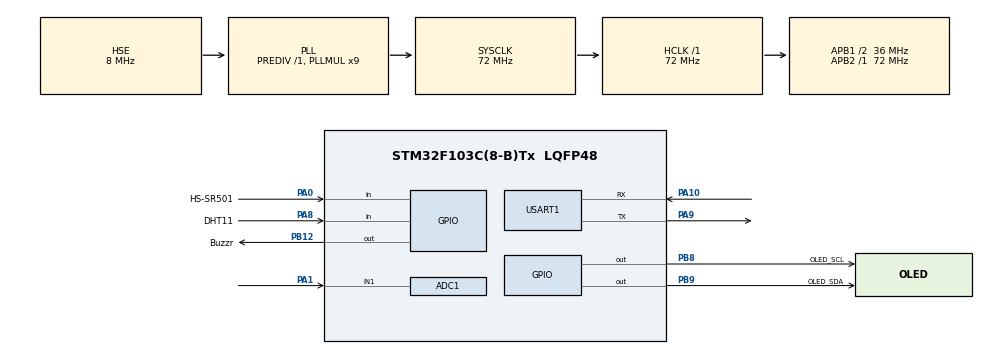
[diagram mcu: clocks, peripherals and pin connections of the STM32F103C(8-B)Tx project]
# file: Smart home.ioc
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ADC1.Channel-2\#ChannelRegularConversion=ADC_CHANNEL_1
ADC1.NbrOfConversionFlag=1
ADC1.Rank-2\#ChannelRegularConversion=1
ADC1.SamplingTime-2\#ChannelRegularConversion=ADC_SAMPLETIME_1CYCLE_5
ADC1.master=1
Mcu.Family=STM32F1
Mcu.Name=STM32F103C(8-B)Tx
Mcu.Package=LQFP48
NVIC.PriorityGroup=NVIC_PRIORITYGROUP_4
PA0-WKUP.GPIO_Label=HS-SR501
PA0-WKUP.GPIO_PuPd=GPIO_PULLDOWN
PA0-WKUP.Signal=GPIO_Input
PA1.Signal=ADCx_IN1
PA10.Mode=Asynchronous
PA10.Signal=USART1_RX
PA13.Mode=Serial_Wire
PA13.Signal=SYS_JTMS-SWDIO
PA14.Mode=Serial_Wire
PA14.Signal=SYS_JTCK-SWCLK
PA8.GPIO_Label=DHT11
PA8.Signal=GPIO_Input
PA9.Mode=Asynchronous
PA9.Signal=USART1_TX
PB12.GPIO_Label=Buzzr
PB12.GPIO_PuPd=GPIO_PULLUP
PB12.PinState=GPIO_PIN_SET
PB12.Signal=GPIO_Output
PB8.GPIO_Label=OLED_SCL
PB8.GPIO_ModeDefaultOutputPP=GPIO_MODE_OUTPUT_OD
PB8.GPIO_PuPd=GPIO_PULLUP
PB8.Signal=GPIO_Output
PB9.GPIO_Label=OLED_SDA
PB9.GPIO_ModeDefaultOutputPP=GPIO_MODE_OUTPUT_OD
PB9.GPIO_PuPd=GPIO_PULLUP
PB9.Signal=GPIO_Output
PD0-OSC_IN.Mode=HSE-External-Oscillator
PD0-OSC_IN.Signal=RCC_OSC_IN
PD1-OSC_OUT.Mode=HSE-External-Oscillator
PD1-OSC_OUT.Signal=RCC_OSC_OUT
ProjectManager.HeapSize=0x200
ProjectManager.StackSize=0x400
ProjectManager.TargetToolchain=MDK-ARM V5.32
RCC.ADCPresc=RCC_ADCPCLK2_DIV6
RCC.AHBFreq_Value=72000000
RCC.APB1CLKDivider=RCC_HCLK_DIV2
RCC.APB1Freq_Value=36000000
RCC.APB1TimFreq_Value=72000000
RCC.APB2Freq_Value=72000000
RCC.APB2TimFreq_Value=72000000
RCC.HCLKFreq_Value=72000000
RCC.PLLMUL=RCC_PLL_MUL9
RCC.PLLSourceVirtual=RCC_PLLSOURCE_HSE
RCC.SYSCLKFreq_VALUE=72000000
RCC.SYSCLKSource=RCC_SYSCLKSOURCE_PLLCLK
RCC.USBFreq_Value=72000000
SH.ADCx_IN1.0=ADC1_IN1,IN1
TIM1.Prescaler=72-1
USART1.VirtualMode=VM_ASYNC
VP_TIM1_VS_ClockSourceINT.Mode=Internal
board=custom

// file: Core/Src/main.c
/* USER CODE BEGIN Header */
/**
 ******************************************************************************
 * @file           : main.c
 * @brief          : Main program body
 ******************************************************************************
 * @attention
 *
 * Copyright (c) 2026 STMicroelectronics.
 * All rights reserved.
 *
 * This software is licensed under terms that can be found in the LICENSE file
 * in the root directory of this software component.
 * If no LICENSE file comes with this software, it is provided AS-IS.
 *
 ******************************************************************************
 */
/* USER CODE END Header */
#include "main.h"
#include "adc.h"
#include "tim.h"
#include "usart.h"
#include "gpio.h"

/* USER CODE BEGIN Includes */
#include "mydht11.h"

#include "myoled.h"

#include "mymq-7.h"

#include "hc-sr501.h"

#include "buzzer.h"

/* USER CODE END Includes */

void SystemClock_Config(void);

/* USER CODE BEGIN 0 */
  uint8_t buzzer_bit1 = 0;
  uint8_t buzzer_bit2 = 0;

/* USER CODE END 0 */

int main(void)
{

  /* MCU Configuration--------------------------------------------------------*/

  /* Reset of all peripherals, Initializes the Flash interface and the Systick. */
  HAL_Init();

  /* Configure the system clock */
  SystemClock_Config();

  /* Initialize all configured peripherals */
  MX_GPIO_Init();
  MX_USART1_UART_Init();
  MX_TIM1_Init();
  MX_ADC1_Init();
  /* USER CODE BEGIN 2 */
  DHT11_Init();
  OLED_Init();
  OLED_Clear();

  // 启动 ADC 硬件自校准
  HAL_ADCEx_Calibration_Start(&hadc1);
  /* USER CODE END 2 */

  /* Infinite loop */
  /* USER CODE BEGIN WHILE */
  while (1)
  {
    dht11_task();
    hc_sr501_task();
    mq7_task();
    oled_task();
	Buzzer_Task();
    HAL_Delay(1000);
    /* USER CODE END WHILE */

  }
}

void SystemClock_Config(void)
{
  RCC_OscInitTypeDef RCC_OscInitStruct = {0};
  RCC_ClkInitTypeDef RCC_ClkInitStruct = {0};
  RCC_PeriphCLKInitTypeDef PeriphClkInit = {0};

  /** Initializes the RCC Oscillators according to the specified parameters
  * in the RCC_OscInitTypeDef structure.
  */
  RCC_OscInitStruct.OscillatorType = RCC_OSCILLATORTYPE_HSE;
  RCC_OscInitStruct.HSEState = RCC_HSE_ON;
  RCC_OscInitStruct.HSEPredivValue = RCC_HSE_PREDIV_DIV1;
  RCC_OscInitStruct.HSIState = RCC_HSI_ON;
  RCC_OscInitStruct.PLL.PLLState = RCC_PLL_ON;
  RCC_OscInitStruct.PLL.PLLSource = RCC_PLLSOURCE_HSE;
  RCC_OscInitStruct.PLL.PLLMUL = RCC_PLL_MUL9;
  if (HAL_RCC_OscConfig(&RCC_OscInitStruct) != HAL_OK)
  {
    Error_Handler();
  }

  /** Initializes the CPU, AHB and APB buses clocks
  */
  RCC_ClkInitStruct.ClockType = RCC_CLOCKTYPE_HCLK|RCC_CLOCKTYPE_SYSCLK
                              |RCC_CLOCKTYPE_PCLK1|RCC_CLOCKTYPE_PCLK2;
  RCC_ClkInitStruct.SYSCLKSource = RCC_SYSCLKSOURCE_PLLCLK;
  RCC_ClkInitStruct.AHBCLKDivider = RCC_SYSCLK_DIV1;
  RCC_ClkInitStruct.APB1CLKDivider = RCC_HCLK_DIV2;
  RCC_ClkInitStruct.APB2CLKDivider = RCC_HCLK_DIV1;

  if (HAL_RCC_ClockConfig(&RCC_ClkInitStruct, FLASH_LATENCY_2) != HAL_OK)
  {
    Error_Handler();
  }
  PeriphClkInit.PeriphClockSelection = RCC_PERIPHCLK_ADC;
  PeriphClkInit.AdcClockSelection = RCC_ADCPCLK2_DIV6;
  if (HAL_RCCEx_PeriphCLKConfig(&PeriphClkInit) != HAL_OK)
  {
    Error_Handler();
  }
}

void Error_Handler(void)
{
  __disable_irq();
  while (1)
  {
  }
}
